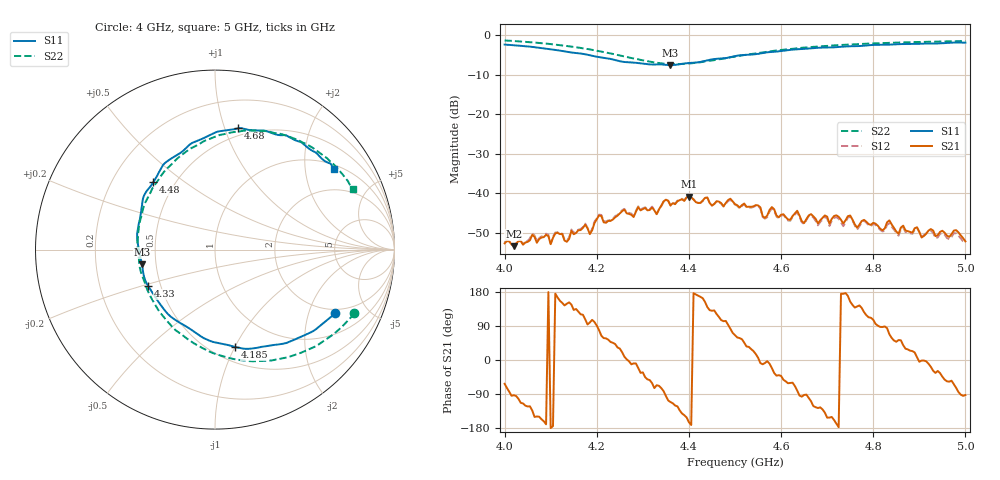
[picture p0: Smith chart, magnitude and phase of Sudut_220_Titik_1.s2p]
# Hz S RI R 50
! CMT, C1220, 16058040, 17.2.0/1
! Date: 15/08/2018 11:34:49
! Data: Format (Calibration Info)
! Freq  S11: Re/Im (F2)  S21: Re/Im (F2)  S12: Re/Im (F2)  S22: Re/Im (F2)
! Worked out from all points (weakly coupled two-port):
!   201 points, 4 GHz to 5 GHz, reference 50 ohm
!   highest |S21| = -40.86 dB at 4.4 GHz (marker M1); lowest = -53.4 dB at 4.02 GHz (marker M2)
!   lowest |S11| = -7.6 dB at 4.36 GHz (marker M3), VSWR 2.42, Z = 20.8 - j4.08 ohm
!   |S11| at or under -10 dB: nowhere
!   |S22| runs from -7.4 to -1.4 dB; largest |S21 - S12| = 0.00038
!   S11 on the Smith chart (normalised r, x): 4 GHz: 1.81, -3.00; 4.185 GHz: 0.64, -1.00; 4.33 GHz: 0.43, -0.21; 4.48 GHz: 0.38, +0.39; 4.68 GHz: 0.43, +1.12; 5 GHz: 1.15, +2.84
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4e9  0.6673 -0.3555  0.00107 -0.00206  0.00116 -0.00211  0.7756 -0.3536
4.02e9  0.6318 -0.3874  -0.000111 -0.00213  -3.92e-05 -0.00214  0.7386 -0.3975
4.06e9  0.5372 -0.4593  -0.00205 -0.00217  -0.00208 -0.0023  0.6474 -0.4806
4.135e9  0.2958 -0.5371  -0.00207 0.00127  -0.00211 0.00131  0.4122 -0.5976
4.17e9  0.1663 -0.5526  -0.00179 0.00318  -0.00185 0.00321  0.274 -0.6196
4.185e9  0.113 -0.5427  -0.000482 0.003  -0.000561 0.00305  0.2099 -0.6221
4.205e9  0.0315 -0.5238  0.00104 0.00515  0.000992 0.00526  0.121 -0.6129
4.33e9  -0.3734 -0.2017  0.00214 -0.00498  0.00207 -0.00504  -0.3547 -0.2701
4.335e9  -0.3836 -0.1838  0.00232 -0.00579  0.00213 -0.00583  -0.367 -0.2465
4.36e9  -0.407 -0.0811  -0.00251 -0.00655  -0.00248 -0.00649  -0.4127 -0.1266
4.4e9  -0.4338 0.0862  -0.00872 -0.00247  -0.00886 -0.00235  -0.4292 0.0741
4.48e9  -0.3428 0.3773  -0.0017 0.00732  -0.00147 0.00719  -0.3009 0.4109
4.5e9  -0.3035 0.4472  0.00301 0.00661  0.00309 0.00647  -0.2455 0.4719
4.67e9  0.1116 0.6717  -0.00267 -0.00434  -0.00269 -0.00412  0.2473 0.6629
4.68e9  0.1308 0.6764  -0.00248 -0.00332  -0.00237 -0.00312  0.2714 0.66
4.75e9  0.2864 0.6602  -0.00469 0.00228  -0.00456 0.00209  0.4326 0.6213
4.765e9  0.3193 0.648  -0.00284 0.00229  -0.00271 0.00216  0.4622 0.6107
4.82e9  0.4165 0.625  0.000174 0.00338  0.000272 0.00327  0.5593 0.5568
4.835e9  0.4443 0.6105  0.0017 0.0042  0.00148 0.00389  0.5824 0.5402
4.855e9  0.476 0.6  0.00186 0.00243  0.00175 0.00231  0.6124 0.5177
4.98e9  0.6464 0.4759  0.000957 -0.00327  0.000871 -0.00298  0.7498 0.3639
5e9  0.6615 0.4481  -0.000108 -0.00246  -1.95e-05 -0.00232  0.7678 0.3374
